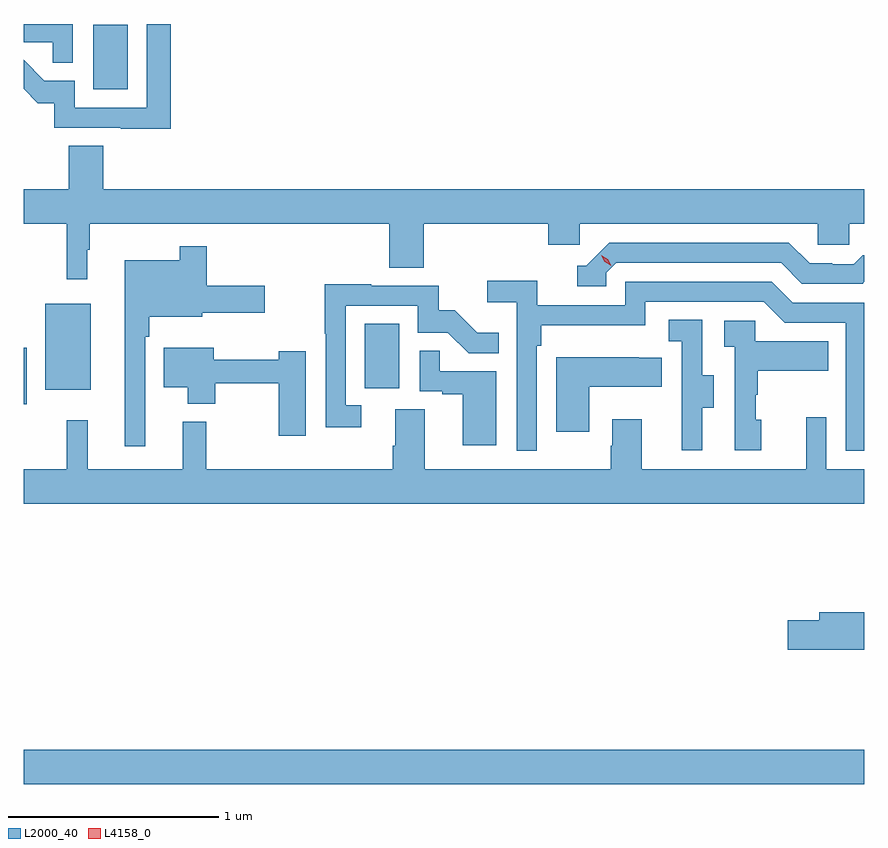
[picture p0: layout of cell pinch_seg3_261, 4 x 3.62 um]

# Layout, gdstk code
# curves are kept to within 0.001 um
import gdstk
lib = gdstk.Library(unit=1e-6, precision=1e-09)
def R(c, l, rs):  # rectangles x0, y0, x1, y1
    for r in rs: c.add(gdstk.rectangle(r[:2], r[2:], *l))
def P(c, l, *ps):  # polygons
    for p in ps: c.add(gdstk.Polygon(p, *l))
L2000_40 = (2000, 40)
L4158_0 = (4158, 0)

pinch_seg3_261 = lib.new_cell('pinch_seg3_261')
R(pinch_seg3_261, L2000_40, [(897.63,719.564,901.63,719.728), (897.63,721.37,897.646,721.639), (897.734,721.439,897.949,721.849), (899.252,721.446,899.416,721.753), (897.962,722.868,898.126,723.175)])
P(pinch_seg3_261, L2000_40, [(898.331,723.179),(898.215,723.179),(898.215,722.781),(897.873,722.781),(897.873,722.91),(897.729,722.91),(897.631,723.008),(897.63,722.87),(897.698,722.802),(897.775,722.802),(897.775,722.685),(898.093,722.685),(898.093,722.68),(898.331,722.68)],
  [(897.864,723.179),(897.63,723.179),(897.63,723.093),(897.769,723.093),(897.769,722.995),(897.864,722.995)],
  [(897.934,722.105),(897.946,722.105),(897.946,722.228),(899.369,722.228),(899.369,722.02),(899.534,722.02),(899.534,722.228),(900.125,722.228),(900.125,722.13),(900.276,722.13),(900.276,722.228),(901.407,722.228),(901.407,722.13),(901.557,722.13),(901.557,722.228),(901.63,722.228),(901.63,722.392),(898.01,722.392),(898.01,722.6),(897.845,722.6),(897.845,722.392),(897.63,722.392),(897.63,722.228),(897.835,722.228),(897.835,721.965),(897.934,721.965)],
  [(900.402,721.995),(900.45,722.043),(901.233,722.043),(901.332,721.944),(901.621,721.944),(901.63,721.953),(901.63,722.08),(901.621,722.08),(901.579,722.037),(901.476,722.037),(901.476,722.04),(901.369,722.04),(901.27,722.139),(900.417,722.139),(900.306,722.028),(900.263,722.028),(900.263,721.932),(900.402,721.932)],
  [(898.209,721.691),(898.229,721.691),(898.229,721.787),(898.479,721.787),(898.479,721.805),(898.777,721.805),(898.777,721.935),(898.502,721.935),(898.502,722.122),(898.374,722.122),(898.374,722.056),(898.112,722.056),(898.112,721.17),(898.209,721.17)],
  [(900.072,721.649),(900.092,721.649),(900.092,721.745),(900.588,721.745),(900.588,721.857),(901.152,721.857),(901.251,721.758),(901.542,721.758),(901.542,721.149),(901.63,721.149),(901.63,721.854),(901.288,721.854),(901.189,721.953),(900.492,721.953),(900.492,721.842),(900.074,721.842),(900.074,721.958),(899.835,721.958),(899.835,721.856),(899.976,721.856),(899.976,721.149),(900.072,721.149)],
  [(899.236,721.365),(899.163,721.365),(899.163,721.839),(899.505,721.839),(899.505,721.71),(899.649,721.71),(899.747,721.612),(899.891,721.612),(899.891,721.711),(899.787,721.711),(899.68,721.818),(899.604,721.818),(899.604,721.935),(899.285,721.935),(899.285,721.94),(899.062,721.94),(899.062,721.705),(899.067,721.705),(899.067,721.26),(899.236,721.26)],
  [(900.859,721.354),(900.913,721.354),(900.913,721.509),(900.858,721.509),(900.858,721.772),(900.699,721.772),(900.699,721.669),(900.762,721.669),(900.762,721.365),(900.761,721.365),(900.761,721.152),(900.859,721.152)],
  [(901.138,721.296),(901.113,721.296),(901.113,721.415),(901.123,721.415),(901.123,721.529),(901.457,721.529),(901.457,721.669),(901.11,721.669),(901.11,721.767),(900.963,721.767),(900.963,721.643),(901.014,721.643),(901.014,721.152),(901.138,721.152)],
  [(898.972,721.622),(898.843,721.622),(898.843,721.581),(898.534,721.581),(898.534,721.639),(898.298,721.639),(898.298,721.451),(898.412,721.451),(898.412,721.373),(898.542,721.373),(898.542,721.47),(898.843,721.47),(898.843,721.221),(898.972,721.221)],
  [(899.878,721.527),(899.609,721.527),(899.609,721.625),(899.514,721.625),(899.514,721.431),(899.621,721.431),(899.621,721.419),(899.72,721.419),(899.72,721.176),(899.878,721.176)],
  [(900.322,721.454),(900.665,721.454),(900.665,721.591),(900.557,721.591),(900.557,721.594),(900.164,721.594),(900.164,721.239),(900.322,721.239)],
  [(901.63,721.06),(901.449,721.06),(901.449,721.309),(901.352,721.309),(901.352,721.06),(900.571,721.06),(900.571,721.3),(900.431,721.3),(900.431,721.172),(900.424,721.172),(900.424,721.06),(899.539,721.06),(899.539,721.346),(899.399,721.346),(899.399,721.172),(899.387,721.172),(899.387,721.06),(898.498,721.06),(898.498,721.288),(898.388,721.288),(898.388,721.06),(897.935,721.06),(897.935,721.294),(897.835,721.294),(897.835,721.06),(897.63,721.06),(897.63,720.896),(901.63,720.896)],
  [(901.63,720.38),(901.415,720.38),(901.415,720.344),(901.266,720.344),(901.266,720.202),(901.63,720.202)])
P(pinch_seg3_261, L4158_0, [(900.425,722.028),(900.394,722.047),(900.378,722.08),(900.378,722.08),(900.378,722.08),(900.409,722.061),(900.425,722.029),(900.425,722.028)])

lib.write_gds('pinch_seg3_261.gds')
